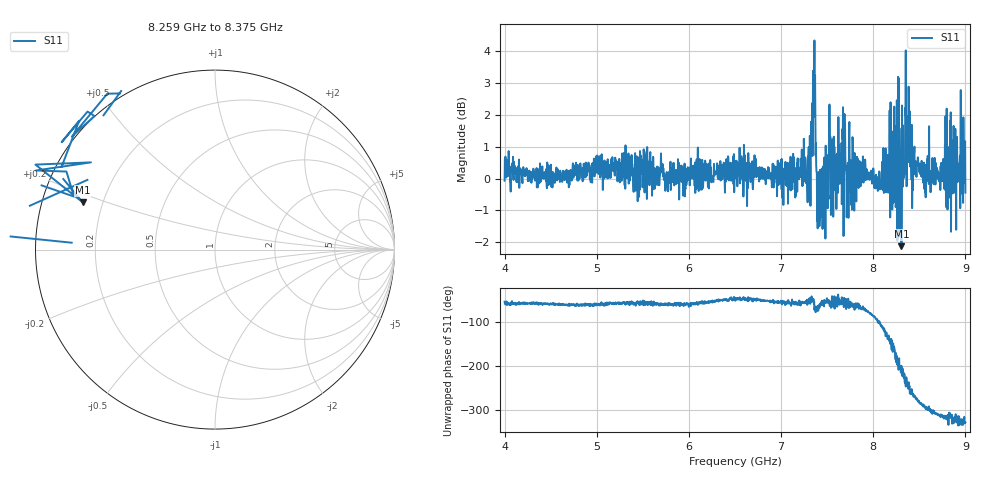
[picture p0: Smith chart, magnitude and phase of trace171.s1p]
! Created with skrf 1.8.0 (http://scikit-rf.org).
# Hz S RI R 50.0
!freq ReS11 ImS11
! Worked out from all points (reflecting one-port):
!   1601 points, 4 GHz to 9 GHz, reference 50 ohm
!   lowest |S11| = -2.1 dB at 8.306 GHz (marker M1), VSWR 8.21, Z = 6.27 + j8.53 ohm
!   phase of S11 starts at -53 deg and turns -275 deg over the sweep
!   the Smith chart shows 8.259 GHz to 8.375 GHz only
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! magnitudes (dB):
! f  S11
! 4 GHz  -0.1
! 4.625 GHz  -0.1
! 5.25 GHz  -0.1
! 5.875 GHz  -0.1
! 6.5 GHz  0.4
! 7.125 GHz  0.2
! 7.294 GHz  0.7
! 7.328 GHz  0.9
! 7.347 GHz  3.4
! 7.369 GHz  3.2
! 7.397 GHz  -1.6
! 7.416 GHz  -1.5
! 7.509 GHz  -0.6
! 7.591 GHz  -0.4
! 7.669 GHz  1.2
! 7.75 GHz  -0.3
! 8.081 GHz  -0.1
! 8.178 GHz  2.1
! 8.228 GHz  2.3
! 8.253 GHz  0.3
! 8.306 GHz  -2.1
! 8.375 GHz  1.3
! 8.447 GHz  1.0
! 8.556 GHz  -0.3
! 8.866 GHz  0.3
! 8.919 GHz  0.0
! 8.972 GHz  0.6
! 9 GHz  -0.4
